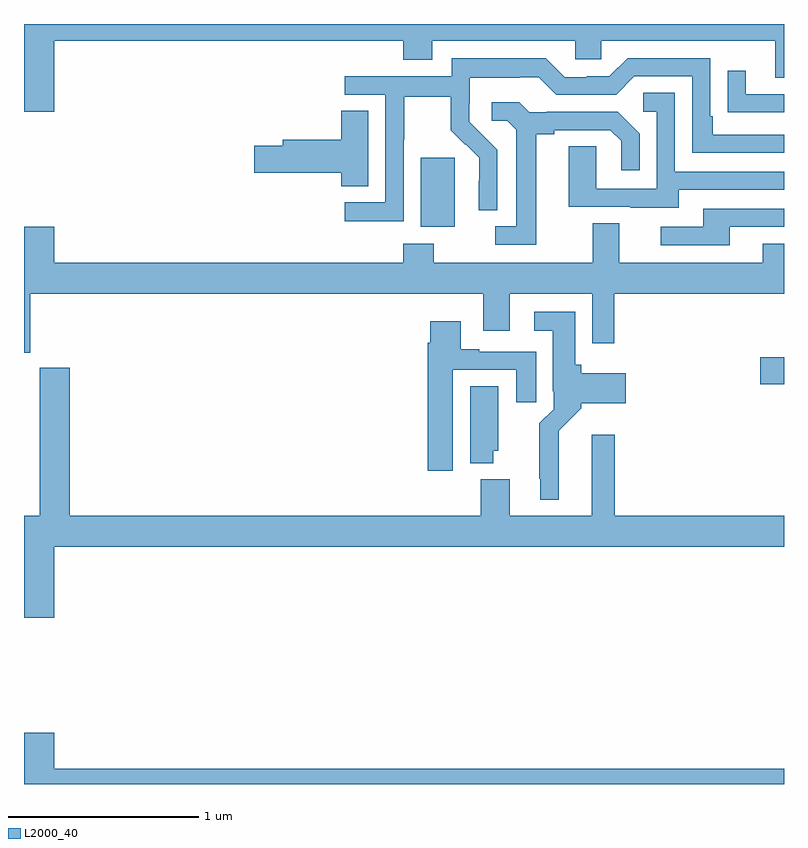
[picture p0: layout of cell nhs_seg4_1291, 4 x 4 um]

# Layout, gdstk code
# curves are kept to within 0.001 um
import gdstk
lib = gdstk.Library(unit=1e-6, precision=1e-09)
def R(c, l, rs):  # rectangles x0, y0, x1, y1
    for r in rs: c.add(gdstk.rectangle(r[:2], r[2:], *l))
def P(c, l, *ps):  # polygons
    for p in ps: c.add(gdstk.Polygon(p, *l))
L2000_40 = (2000, 40)

nhs_seg4_1291 = lib.new_cell('nhs_seg4_1291')
R(nhs_seg4_1291, L2000_40, [(180.876,803.003,181,803.145), (179.087,803.834,179.266,804.195)])
P(nhs_seg4_1291, L2000_40, [(177.16,804.812),(178.997,804.812),(178.997,804.713),(179.149,804.713),(179.149,804.812),(179.901,804.812),(179.901,804.714),(180.039,804.714),(180.039,804.812),(180.953,804.812),(180.953,804.618),(181,804.618),(181,804.9),(177,804.9),(177,804.438),(177.16,804.438)],
  [(178.998,804.292),(179.001,804.292),(179.001,804.516),(179.245,804.516),(179.245,804.341),(179.322,804.264),(179.325,804.267),(179.396,804.197),(179.396,804.074),(179.394,804.074),(179.394,803.92),(179.49,803.92),(179.49,804.238),(179.344,804.386),(179.344,804.483),(179.346,804.483),(179.346,804.617),(179.609,804.617),(179.609,804.621),(179.709,804.621),(179.802,804.528),(180.117,804.528),(180.213,804.624),(180.516,804.624),(180.516,804.222),(181,804.222),(181,804.318),(180.625,804.318),(180.625,804.415),(180.612,804.415),(180.612,804.72),(180.177,804.72),(180.081,804.624),(179.963,804.624),(179.963,804.621),(179.847,804.621),(179.747,804.721),(179.25,804.721),(179.25,804.624),(178.689,804.624),(178.689,804.528),(178.902,804.528),(178.902,803.961),(178.689,803.961),(178.689,803.863),(178.998,803.863)],
  [(181,804.531),(180.799,804.531),(180.799,804.655),(180.703,804.655),(180.703,804.436),(180.805,804.436),(180.805,804.435),(181,804.435)],
  [(180.445,804.027),(181,804.027),(181,804.123),(180.426,804.123),(180.426,804.539),(180.258,804.539),(180.258,804.438),(180.33,804.438),(180.33,804.033),(180.012,804.033),(180.012,804.257),(179.867,804.257),(179.867,803.937),(180.191,803.937),(180.191,803.933),(180.445,803.933)],
  [(179.695,804.32),(179.791,804.32),(179.791,804.342),(180.086,804.342),(180.143,804.285),(180.143,804.129),(180.24,804.129),(180.24,804.322),(180.124,804.438),(179.752,804.438),(179.752,804.435),(179.658,804.435),(179.606,804.487),(179.463,804.487),(179.463,804.39),(179.544,804.39),(179.591,804.343),(179.591,803.835),(179.481,803.835),(179.481,803.739),(179.695,803.739)],
  [(178.813,804.443),(178.67,804.443),(178.67,804.29),(178.361,804.29),(178.361,804.26),(178.212,804.26),(178.212,804.118),(178.67,804.118),(178.67,804.046),(178.813,804.046)],
  [(180.715,803.832),(181,803.832),(181,803.928),(180.575,803.928),(180.575,803.832),(180.351,803.832),(180.351,803.736),(180.715,803.736)],
  [(179.417,803.286),(179.557,803.286),(179.557,803.48),(179.991,803.48),(179.991,803.22),(180.107,803.22),(180.107,803.48),(181,803.48),(181,803.743),(180.887,803.743),(180.887,803.644),(180.133,803.644),(180.133,803.852),(179.993,803.852),(179.993,803.644),(179.157,803.644),(179.157,803.743),(178.997,803.743),(178.997,803.644),(177.16,803.644),(177.16,803.833),(177,803.833),(177,803.171),(177.034,803.171),(177.034,803.48),(179.417,803.48)],
  [(179.815,802.76),(179.933,802.878),(179.933,802.904),(180.166,802.904),(180.166,803.062),(179.933,803.062),(179.933,803.106),(179.902,803.106),(179.902,803.386),(179.685,803.386),(179.685,803.285),(179.783,803.285),(179.783,802.966),(179.787,802.966),(179.787,802.872),(179.713,802.798),(179.713,802.507),(179.717,802.507),(179.717,802.397),(179.815,802.397)],
  [(179.257,803.079),(179.591,803.079),(179.591,802.908),(179.695,802.908),(179.695,803.175),(179.395,803.175),(179.395,803.188),(179.299,803.188),(179.299,803.335),(179.138,803.335),(179.138,803.222),(179.126,803.222),(179.126,802.548),(179.257,802.548)],
  [(177.16,802.148),(181,802.148),(181,802.312),(180.11,802.312),(180.11,802.738),(179.987,802.738),(179.987,802.312),(179.557,802.312),(179.557,802.504),(179.405,802.504),(179.405,802.312),(177.242,802.312),(177.242,803.092),(177.082,803.092),(177.082,802.312),(177,802.312),(177,801.774),(177.16,801.774)],
  [(179.47,802.653),(179.497,802.653),(179.497,802.994),(179.348,802.994),(179.348,802.589),(179.47,802.589)],
  [(177.16,801.169),(177,801.169),(177,800.9),(181,800.9),(181,800.98),(177.16,800.98)])

lib.write_gds('nhs_seg4_1291.gds')
